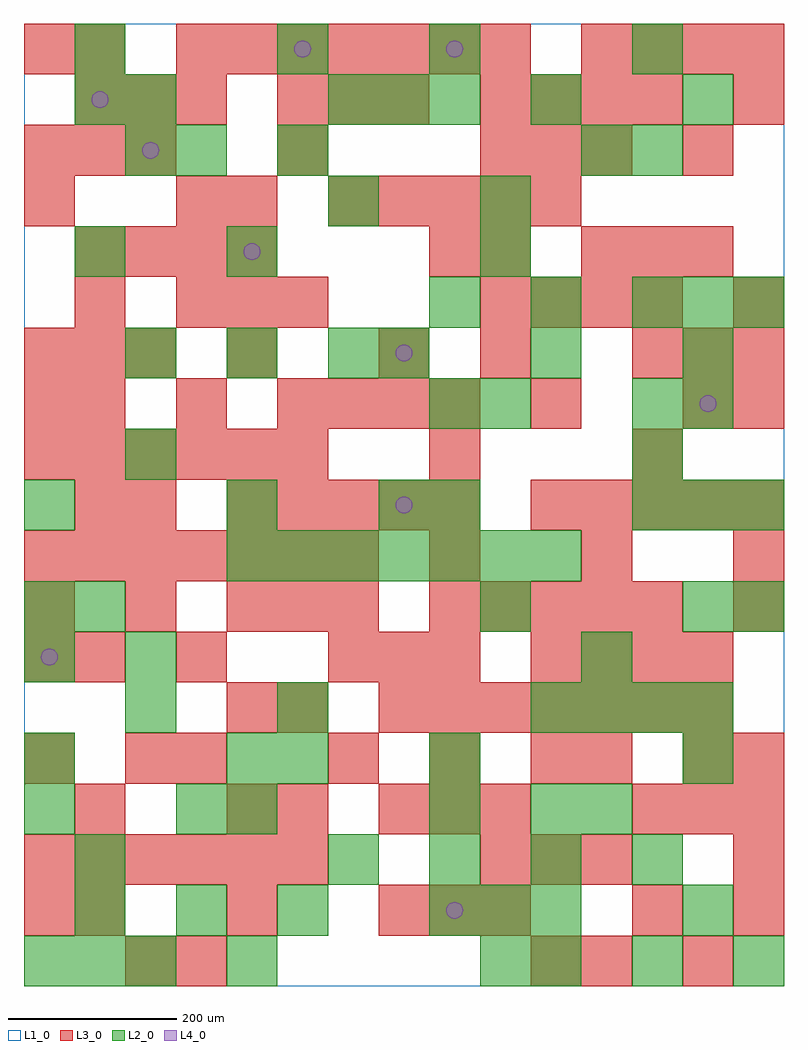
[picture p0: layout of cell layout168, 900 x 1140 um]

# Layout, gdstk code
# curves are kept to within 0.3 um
import gdstk
lib = gdstk.Library(unit=1e-6, precision=1e-09)
def R(c, l, rs):  # rectangles x0, y0, x1, y1
    for r in rs: c.add(gdstk.rectangle(r[:2], r[2:], *l))
def A(c, l, x, y, w, h, nx, ny, dx, dy):  # array of equal rectangles
    R(c, l, [(x+i*dx, y+j*dy, x+i*dx+w, y+j*dy+h) for i in range(nx) for j in range(ny)])
def P(c, l, *ps):  # polygons
    for p in ps: c.add(gdstk.Polygon(p, *l))
L1_0 = (1, 0)
L2_0 = (2, 0)
L3_0 = (3, 0)
L4_0 = (4, 0)

layout168 = lib.new_cell('layout168')
R(layout168, L1_0, [(0,0,900,1140)])
A(layout168, L2_0, 0, 0, 60, 60, 3, 1, 60, 0)
A(layout168, L2_0, 600, 0, 60, 60, 3, 1, 120, 0)
A(layout168, L2_0, 60, 60, 60, 60, 3, 1, 120, 0)
A(layout168, L2_0, 480, 60, 60, 60, 3, 1, 60, 0)
A(layout168, L2_0, 780, 60, 60, 60, 1, 3, 0, 180)
A(layout168, L2_0, 360, 120, 60, 60, 4, 1, 120, 0)
A(layout168, L2_0, 240, 240, 60, 60, 1, 3, 0, 300)
A(layout168, L2_0, 600, 300, 60, 60, 4, 1, 60, 0)
A(layout168, L2_0, 240, 480, 60, 60, 7, 1, 60, 0)
A(layout168, L2_0, 720, 540, 60, 60, 3, 1, 60, 0)
A(layout168, L2_0, 120, 720, 60, 60, 3, 1, 120, 0)
A(layout168, L2_0, 420, 720, 60, 60, 3, 1, 180, 0)
A(layout168, L2_0, 480, 780, 60, 60, 3, 1, 120, 0)
A(layout168, L2_0, 360, 1020, 60, 60, 3, 1, 60, 0)
R(layout168, L2_0, [(240,0,300,60), (540,0,600,60), (60,120,120,180), (0,180,60,240), (180,180,240,240), (240,180,300,240), (480,180,540,240), (600,180,660,240), (660,180,720,240), (0,240,60,300), (300,240,360,300), (480,240,540,300), (120,300,180,360), (300,300,360,360), (0,360,60,420), (120,360,180,420), (660,360,720,420), (0,420,60,480), (60,420,120,480), (540,420,600,480), (840,420,900,480), (0,540,60,600), (420,540,480,600), (480,540,540,600), (120,600,180,660), (720,600,780,660), (480,660,540,720), (540,660,600,720), (720,660,780,720), (780,660,840,720), (780,780,840,840), (840,780,900,840), (60,840,120,900), (540,840,600,900), (360,900,420,960), (540,900,600,960), (120,960,180,1020), (180,960,240,1020), (300,960,360,1020), (660,960,720,1020), (720,960,780,1020), (60,1020,120,1080), (120,1020,180,1080), (600,1020,660,1080), (780,1020,840,1080), (60,1080,120,1140), (300,1080,360,1140), (480,1080,540,1140), (720,1080,780,1140)])
A(layout168, L3_0, 60, 60, 60, 60, 3, 1, 180, 0)
A(layout168, L3_0, 0, 120, 60, 60, 6, 2, 60, 480)
A(layout168, L3_0, 540, 120, 60, 60, 3, 2, 60, 840)
A(layout168, L3_0, 60, 180, 60, 60, 1, 3, 0, 180)
A(layout168, L3_0, 300, 180, 60, 60, 1, 3, 0, 120)
A(layout168, L3_0, 420, 180, 60, 60, 3, 1, 60, 0)
A(layout168, L3_0, 720, 180, 60, 60, 3, 2, 60, 540)
A(layout168, L3_0, 360, 240, 60, 60, 3, 1, 120, 0)
A(layout168, L3_0, 420, 300, 60, 60, 7, 1, 60, 0)
A(layout168, L3_0, 360, 360, 60, 60, 3, 2, 60, 300)
A(layout168, L3_0, 600, 360, 60, 60, 4, 1, 60, 0)
A(layout168, L3_0, 0, 420, 60, 60, 3, 1, 120, 0)
A(layout168, L3_0, 480, 420, 60, 60, 5, 1, 60, 0)
A(layout168, L3_0, 0, 480, 60, 60, 7, 1, 60, 0)
A(layout168, L3_0, 480, 480, 60, 60, 3, 1, 180, 0)
A(layout168, L3_0, 240, 540, 60, 60, 5, 1, 60, 0)
A(layout168, L3_0, 600, 540, 60, 60, 5, 1, 60, 0)
A(layout168, L3_0, 60, 660, 60, 60, 3, 1, 120, 0)
A(layout168, L3_0, 0, 720, 60, 60, 3, 2, 60, 240)
A(layout168, L3_0, 180, 780, 60, 60, 3, 1, 60, 0)
A(layout168, L3_0, 540, 780, 60, 60, 4, 2, 60, 240)
A(layout168, L3_0, 60, 840, 60, 60, 4, 1, 60, 0)
A(layout168, L3_0, 660, 840, 60, 60, 3, 1, 60, 0)
A(layout168, L3_0, 360, 900, 60, 60, 5, 1, 60, 0)
A(layout168, L3_0, 60, 1020, 60, 60, 3, 1, 60, 0)
A(layout168, L3_0, 300, 1020, 60, 60, 3, 1, 60, 0)
A(layout168, L3_0, 180, 1080, 60, 60, 7, 1, 60, 0)
A(layout168, L3_0, 660, 1080, 60, 60, 4, 1, 60, 0)
R(layout168, L3_0, [(120,0,180,60), (180,0,240,60), (600,0,660,60), (660,0,720,60), (780,0,840,60), (0,60,60,120), (480,60,540,120), (540,60,600,120), (720,60,780,120), (840,60,900,120), (840,120,900,180), (240,180,300,240), (0,240,60,300), (120,240,180,300), (180,240,240,300), (660,240,720,300), (780,240,840,300), (840,240,900,300), (240,300,300,360), (0,360,60,420), (180,360,240,420), (360,420,420,480), (840,420,900,480), (120,540,180,600), (480,600,540,660), (720,600,780,660), (0,660,60,720), (600,660,660,720), (780,660,840,720), (840,660,900,720), (240,720,300,780), (420,720,480,780), (540,720,600,780), (60,780,120,840), (840,780,900,840), (480,840,540,900), (540,840,600,900), (0,900,60,960), (180,900,240,960), (240,900,300,960), (300,960,360,1020), (780,960,840,1020), (840,1020,900,1080), (0,1080,60,1140), (60,1080,120,1140)])
P(layout168, L4_0, [(40,390),(39.239,393.827),(37.071,397.071),(33.827,399.239),(30,400),(26.173,399.239),(22.929,397.071),(20.761,393.827),(20,390),(20.761,386.173),(22.929,382.929),(26.173,380.761),(30,380),(33.827,380.761),(37.071,382.929),(39.239,386.173)],
  [(100,1050),(99.239,1053.827),(97.071,1057.071),(93.827,1059.239),(90,1060),(86.173,1059.239),(82.929,1057.071),(80.761,1053.827),(80,1050),(80.761,1046.173),(82.929,1042.929),(86.173,1040.761),(90,1040),(93.827,1040.761),(97.071,1042.929),(99.239,1046.173)],
  [(160,990),(159.239,993.827),(157.071,997.071),(153.827,999.239),(150,1000),(146.173,999.239),(142.929,997.071),(140.761,993.827),(140,990),(140.761,986.173),(142.929,982.929),(146.173,980.761),(150,980),(153.827,980.761),(157.071,982.929),(159.239,986.173)],
  [(280,870),(279.239,873.827),(277.071,877.071),(273.827,879.239),(270,880),(266.173,879.239),(262.929,877.071),(260.761,873.827),(260,870),(260.761,866.173),(262.929,862.929),(266.173,860.761),(270,860),(273.827,860.761),(277.071,862.929),(279.239,866.173)],
  [(340,1110),(339.239,1113.827),(337.071,1117.071),(333.827,1119.239),(330,1120),(326.173,1119.239),(322.929,1117.071),(320.761,1113.827),(320,1110),(320.761,1106.173),(322.929,1102.929),(326.173,1100.761),(330,1100),(333.827,1100.761),(337.071,1102.929),(339.239,1106.173)],
  [(460,570),(459.239,573.827),(457.071,577.071),(453.827,579.239),(450,580),(446.173,579.239),(442.929,577.071),(440.761,573.827),(440,570),(440.761,566.173),(442.929,562.929),(446.173,560.761),(450,560),(453.827,560.761),(457.071,562.929),(459.239,566.173)],
  [(460,750),(459.239,753.827),(457.071,757.071),(453.827,759.239),(450,760),(446.173,759.239),(442.929,757.071),(440.761,753.827),(440,750),(440.761,746.173),(442.929,742.929),(446.173,740.761),(450,740),(453.827,740.761),(457.071,742.929),(459.239,746.173)],
  [(520,90),(519.239,93.827),(517.071,97.071),(513.827,99.239),(510,100),(506.173,99.239),(502.929,97.071),(500.761,93.827),(500,90),(500.761,86.173),(502.929,82.929),(506.173,80.761),(510,80),(513.827,80.761),(517.071,82.929),(519.239,86.173)],
  [(520,1110),(519.239,1113.827),(517.071,1117.071),(513.827,1119.239),(510,1120),(506.173,1119.239),(502.929,1117.071),(500.761,1113.827),(500,1110),(500.761,1106.173),(502.929,1102.929),(506.173,1100.761),(510,1100),(513.827,1100.761),(517.071,1102.929),(519.239,1106.173)],
  [(820,690),(819.239,693.827),(817.071,697.071),(813.827,699.239),(810,700),(806.173,699.239),(802.929,697.071),(800.761,693.827),(800,690),(800.761,686.173),(802.929,682.929),(806.173,680.761),(810,680),(813.827,680.761),(817.071,682.929),(819.239,686.173)])

lib.write_gds('layout168.gds')
